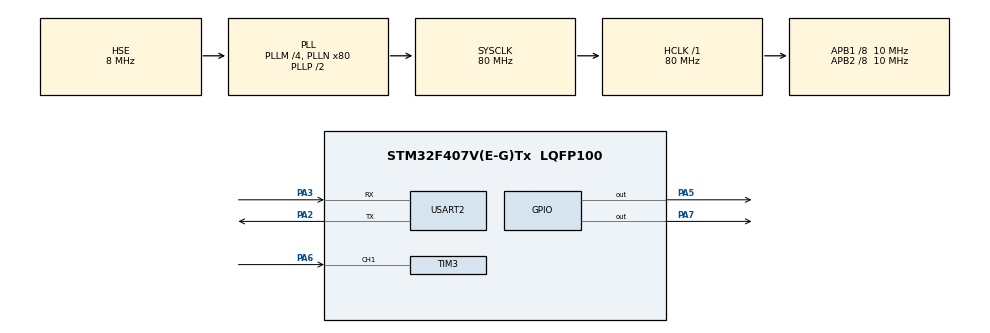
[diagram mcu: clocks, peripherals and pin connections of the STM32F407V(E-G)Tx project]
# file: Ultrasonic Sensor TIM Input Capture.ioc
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Mcu.Family=STM32F4
Mcu.Name=STM32F407V(E-G)Tx
Mcu.Package=LQFP100
NVIC.PriorityGroup=NVIC_PRIORITYGROUP_0
NVIC.TIM3_IRQn=true\:0\:0\:false\:false\:true\:true\:true\:true
PA13.Mode=Serial_Wire
PA13.Signal=SYS_JTMS-SWDIO
PA14.Mode=Serial_Wire
PA14.Signal=SYS_JTCK-SWCLK
PA2.Mode=Asynchronous
PA2.Signal=USART2_TX
PA3.Mode=Asynchronous
PA3.Signal=USART2_RX
PA5.Signal=GPIO_Output
PA6.Signal=S_TIM3_CH1
PA7.Signal=GPIO_Output
PH0-OSC_IN.Mode=HSE-External-Oscillator
PH0-OSC_IN.Signal=RCC_OSC_IN
PH1-OSC_OUT.Mode=HSE-External-Oscillator
PH1-OSC_OUT.Signal=RCC_OSC_OUT
ProjectManager.HeapSize=0x200
ProjectManager.StackSize=0x400
ProjectManager.TargetToolchain=STM32CubeIDE
RCC.48MHZClocksFreq_Value=22857142.85714286
RCC.AHBFreq_Value=80000000
RCC.APB1CLKDivider=RCC_HCLK_DIV8
RCC.APB1Freq_Value=10000000
RCC.APB1TimFreq_Value=20000000
RCC.APB2CLKDivider=RCC_HCLK_DIV8
RCC.APB2Freq_Value=10000000
RCC.APB2TimFreq_Value=20000000
RCC.CortexFreq_Value=80000000
RCC.HCLKFreq_Value=80000000
RCC.HSE_VALUE=8000000
RCC.HSI_VALUE=16000000
RCC.LSE_VALUE=32768
RCC.PLLM=4
RCC.PLLN=80
RCC.PLLQ=7
RCC.PLLSourceVirtual=RCC_PLLSOURCE_HSE
RCC.SYSCLKFreq_VALUE=80000000
RCC.SYSCLKSource=RCC_SYSCLKSOURCE_PLLCLK
RCC.VCOOutputFreq_Value=160000000
SH.S_TIM3_CH1.0=TIM3_CH1,Input_Capture1_from_TI1
TIM3.Channel-Input_Capture1_from_TI1=TIM_CHANNEL_1
TIM3.Prescaler=19
USART2.VirtualMode=VM_ASYNC
VP_TIM3_VS_ClockSourceINT.Mode=Internal
board=STM32F407G-DISC1

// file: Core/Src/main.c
/* USER CODE BEGIN Header */
/**
  ******************************************************************************
  * @file           : main.c
  * @brief          : Main program body
  ******************************************************************************
  * @attention
  *
  * Copyright (c) 2026 STMicroelectronics.
  * All rights reserved.
  *
  * This software is licensed under terms that can be found in the LICENSE file
  * in the root directory of this software component.
  * If no LICENSE file comes with this software, it is provided AS-IS.
  *
  ******************************************************************************
  */
/* USER CODE END Header */
#include "main.h"

/* USER CODE BEGIN Includes */

#include "stdio.h"
#include "string.h"

/* USER CODE END Includes */

TIM_HandleTypeDef htim3;

UART_HandleTypeDef huart2;

/* USER CODE BEGIN PV */

uint32_t ic_val1 = 0;
uint32_t ic_val2 = 0;
uint8_t  is_first_capture = 0;
uint32_t distance = 0;
uint32_t diff;
char uss_buff[30];

/* USER CODE END PV */

void SystemClock_Config(void);
static void MX_GPIO_Init(void);
static void MX_TIM3_Init(void);
static void MX_USART2_UART_Init(void);

/* USER CODE BEGIN 0 */

void delay_us(uint16_t us)
{
    uint16_t start = __HAL_TIM_GET_COUNTER(&htim3);

    while((__HAL_TIM_GET_COUNTER(&htim3) - start) < us);
}

void HCSR04_Trigger(void)
{
	//Trigger port pin configuration

    HAL_GPIO_WritePin(GPIOA, GPIO_PIN_5, GPIO_PIN_RESET);
    HAL_Delay(1);  // settle

    HAL_GPIO_WritePin(GPIOA, GPIO_PIN_5, GPIO_PIN_SET);
    delay_us(10);  // 10 µs pulse
    HAL_GPIO_WritePin(GPIOA, GPIO_PIN_5, GPIO_PIN_RESET);
}

/* USER CODE END 0 */

int main(void)
{

  /* MCU Configuration--------------------------------------------------------*/

  /* Reset of all peripherals, Initializes the Flash interface and the Systick. */
  HAL_Init();

  /* Configure the system clock */
  SystemClock_Config();

  /* Initialize all configured peripherals */
  MX_GPIO_Init();
  MX_TIM3_Init();
  MX_USART2_UART_Init();
  /* USER CODE BEGIN 2 */

  HAL_TIM_IC_Start_IT(&htim3, TIM_CHANNEL_1);

  /* USER CODE END 2 */

  /* Infinite loop */
  /* USER CODE BEGIN WHILE */
  while (1)
  {

	HCSR04_Trigger();

	if((distance > 0) && (distance < 101))
	{
		sprintf(uss_buff, "Distance = %lu cm\r\n", distance);
		HAL_UART_Transmit(&huart2, (uint8_t *)uss_buff, strlen(uss_buff), HAL_MAX_DELAY);

		HAL_GPIO_WritePin(GPIOA, GPIO_PIN_7, GPIO_PIN_SET);
	}
	else
	{
		sprintf(uss_buff, "Out of Range\r\n");
		HAL_UART_Transmit(&huart2, (uint8_t *)uss_buff, strlen(uss_buff), HAL_MAX_DELAY);

		HAL_GPIO_WritePin(GPIOA, GPIO_PIN_7, GPIO_PIN_RESET);
	}

	HAL_Delay(1000);

    /* USER CODE END WHILE */

  }
}

void SystemClock_Config(void)
{
  RCC_OscInitTypeDef RCC_OscInitStruct = {0};
  RCC_ClkInitTypeDef RCC_ClkInitStruct = {0};

  /** Configure the main internal regulator output voltage
  */
  __HAL_RCC_PWR_CLK_ENABLE();
  __HAL_PWR_VOLTAGESCALING_CONFIG(PWR_REGULATOR_VOLTAGE_SCALE1);

  /** Initializes the RCC Oscillators according to the specified parameters
  * in the RCC_OscInitTypeDef structure.
  */
  RCC_OscInitStruct.OscillatorType = RCC_OSCILLATORTYPE_HSE;
  RCC_OscInitStruct.HSEState = RCC_HSE_ON;
  RCC_OscInitStruct.PLL.PLLState = RCC_PLL_ON;
  RCC_OscInitStruct.PLL.PLLSource = RCC_PLLSOURCE_HSE;
  RCC_OscInitStruct.PLL.PLLM = 4;
  RCC_OscInitStruct.PLL.PLLN = 80;
  RCC_OscInitStruct.PLL.PLLP = RCC_PLLP_DIV2;
  RCC_OscInitStruct.PLL.PLLQ = 7;
  if (HAL_RCC_OscConfig(&RCC_OscInitStruct) != HAL_OK)
  {
    Error_Handler();
  }

  /** Initializes the CPU, AHB and APB buses clocks
  */
  RCC_ClkInitStruct.ClockType = RCC_CLOCKTYPE_HCLK|RCC_CLOCKTYPE_SYSCLK
                              |RCC_CLOCKTYPE_PCLK1|RCC_CLOCKTYPE_PCLK2;
  RCC_ClkInitStruct.SYSCLKSource = RCC_SYSCLKSOURCE_PLLCLK;
  RCC_ClkInitStruct.AHBCLKDivider = RCC_SYSCLK_DIV1;
  RCC_ClkInitStruct.APB1CLKDivider = RCC_HCLK_DIV8;
  RCC_ClkInitStruct.APB2CLKDivider = RCC_HCLK_DIV8;

  if (HAL_RCC_ClockConfig(&RCC_ClkInitStruct, FLASH_LATENCY_2) != HAL_OK)
  {
    Error_Handler();
  }
}

static void MX_TIM3_Init(void)
{

  TIM_ClockConfigTypeDef sClockSourceConfig = {0};
  TIM_MasterConfigTypeDef sMasterConfig = {0};
  TIM_IC_InitTypeDef sConfigIC = {0};

  htim3.Instance = TIM3;
  htim3.Init.Prescaler = 19;
  htim3.Init.CounterMode = TIM_COUNTERMODE_UP;
  htim3.Init.Period = 65535;
  htim3.Init.ClockDivision = TIM_CLOCKDIVISION_DIV1;
  htim3.Init.AutoReloadPreload = TIM_AUTORELOAD_PRELOAD_DISABLE;
  if (HAL_TIM_Base_Init(&htim3) != HAL_OK)
  {
    Error_Handler();
  }
  sClockSourceConfig.ClockSource = TIM_CLOCKSOURCE_INTERNAL;
  if (HAL_TIM_ConfigClockSource(&htim3, &sClockSourceConfig) != HAL_OK)
  {
    Error_Handler();
  }
  if (HAL_TIM_IC_Init(&htim3) != HAL_OK)
  {
    Error_Handler();
  }
  sMasterConfig.MasterOutputTrigger = TIM_TRGO_RESET;
  sMasterConfig.MasterSlaveMode = TIM_MASTERSLAVEMODE_DISABLE;
  if (HAL_TIMEx_MasterConfigSynchronization(&htim3, &sMasterConfig) != HAL_OK)
  {
    Error_Handler();
  }
  sConfigIC.ICPolarity = TIM_INPUTCHANNELPOLARITY_RISING;
  sConfigIC.ICSelection = TIM_ICSELECTION_DIRECTTI;
  sConfigIC.ICPrescaler = TIM_ICPSC_DIV1;
  sConfigIC.ICFilter = 0;
  if (HAL_TIM_IC_ConfigChannel(&htim3, &sConfigIC, TIM_CHANNEL_1) != HAL_OK)
  {
    Error_Handler();
  }

}

static void MX_USART2_UART_Init(void)
{

  huart2.Instance = USART2;
  huart2.Init.BaudRate = 115200;
  huart2.Init.WordLength = UART_WORDLENGTH_8B;
  huart2.Init.StopBits = UART_STOPBITS_1;
  huart2.Init.Parity = UART_PARITY_NONE;
  huart2.Init.Mode = UART_MODE_TX_RX;
  huart2.Init.HwFlowCtl = UART_HWCONTROL_NONE;
  huart2.Init.OverSampling = UART_OVERSAMPLING_16;
  if (HAL_UART_Init(&huart2) != HAL_OK)
  {
    Error_Handler();
  }

}

static void MX_GPIO_Init(void)
{
  GPIO_InitTypeDef GPIO_InitStruct = {0};

  /* GPIO Ports Clock Enable */
  __HAL_RCC_GPIOH_CLK_ENABLE();
  __HAL_RCC_GPIOA_CLK_ENABLE();

  /*Configure GPIO pin Output Level */
  HAL_GPIO_WritePin(GPIOA, GPIO_PIN_5|GPIO_PIN_7, GPIO_PIN_RESET);

  /*Configure GPIO pins : PA5 PA7 */
  GPIO_InitStruct.Pin = GPIO_PIN_5|GPIO_PIN_7;
  GPIO_InitStruct.Mode = GPIO_MODE_OUTPUT_PP;
  GPIO_InitStruct.Pull = GPIO_NOPULL;
  GPIO_InitStruct.Speed = GPIO_SPEED_FREQ_LOW;
  HAL_GPIO_Init(GPIOA, &GPIO_InitStruct);

}

/* USER CODE BEGIN 4 */

void HAL_TIM_IC_CaptureCallback(TIM_HandleTypeDef *htim)
{
    if(htim->Channel == HAL_TIM_ACTIVE_CHANNEL_1)
    {
        if(is_first_capture == 0)
        {
            // First capture (Rising edge)
            ic_val1 = HAL_TIM_ReadCapturedValue(htim, TIM_CHANNEL_1);
            is_first_capture = 1;

            // Switch to FALLING edge
            __HAL_TIM_SET_CAPTUREPOLARITY(htim, TIM_CHANNEL_1, TIM_INPUTCHANNELPOLARITY_FALLING);
        }
        else
        {
            // Second capture (Falling edge)
            ic_val2 = HAL_TIM_ReadCapturedValue(htim, TIM_CHANNEL_1);

            if(ic_val2 > ic_val1)
                diff = ic_val2 - ic_val1;
            else
                diff = (65535 - ic_val1) + ic_val2;

            distance = diff / 58;

            // Reset for next cycle
            is_first_capture = 0;

            // Switch back to RISING edge
            __HAL_TIM_SET_CAPTUREPOLARITY(htim, TIM_CHANNEL_1, TIM_INPUTCHANNELPOLARITY_RISING);

            __HAL_TIM_SET_COUNTER(htim, 0);
        }
    }
}

/* USER CODE END 4 */

void Error_Handler(void)
{
  __disable_irq();
  while (1)
  {
  }
}
